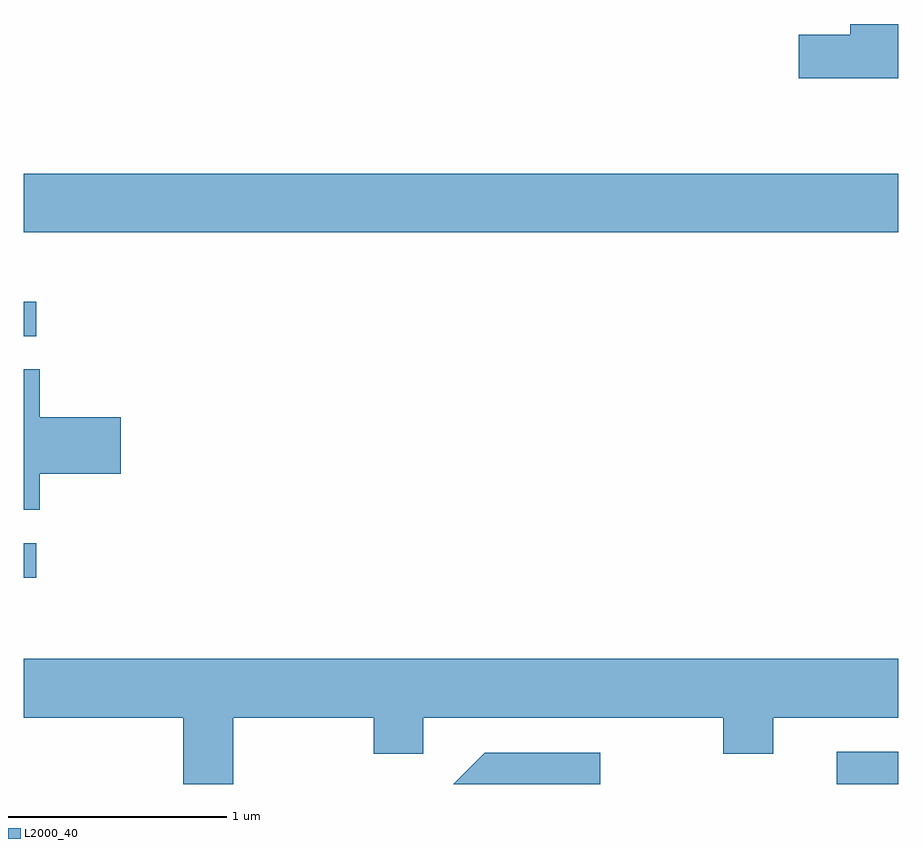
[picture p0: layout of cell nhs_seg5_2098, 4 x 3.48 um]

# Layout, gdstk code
import gdstk
lib = gdstk.Library(unit=1e-6, precision=1e-09)
def R(c, l, rs):  # rectangles x0, y0, x1, y1
    for r in rs: c.add(gdstk.rectangle(r[:2], r[2:], *l))
def P(c, l, *ps):  # polygons
    for p in ps: c.add(gdstk.Polygon(p, *l))
L2000_40 = (2000, 40)

nhs_seg5_2098 = lib.new_cell('nhs_seg5_2098')
R(nhs_seg5_2098, L2000_40, [(251.331,1432.072,251.611,1432.219), (247.611,1433.016,247.668,1433.174), (247.611,1434.121,247.668,1434.279), (247.611,1434.596,251.611,1434.864)])
P(nhs_seg5_2098, L2000_40, [(251.611,1435.549),(251.391,1435.549),(251.391,1435.499),(251.156,1435.499),(251.156,1435.301),(251.611,1435.301)],
  [(247.684,1433.491),(248.054,1433.491),(248.054,1433.749),(247.684,1433.749),(247.684,1433.969),(247.611,1433.969),(247.611,1433.326),(247.684,1433.326)],
  [(247.611,1432.376),(248.341,1432.376),(248.341,1432.072),(248.569,1432.072),(248.569,1432.376),(249.211,1432.376),(249.211,1432.211),(249.439,1432.211),(249.439,1432.376),(250.811,1432.376),(250.811,1432.211),(251.039,1432.211),(251.039,1432.376),(251.611,1432.376),(251.611,1432.644),(247.611,1432.644)],
  [(250.248,1432.214),(249.719,1432.214),(249.576,1432.072),(250.248,1432.072)])

lib.write_gds('nhs_seg5_2098.gds')
